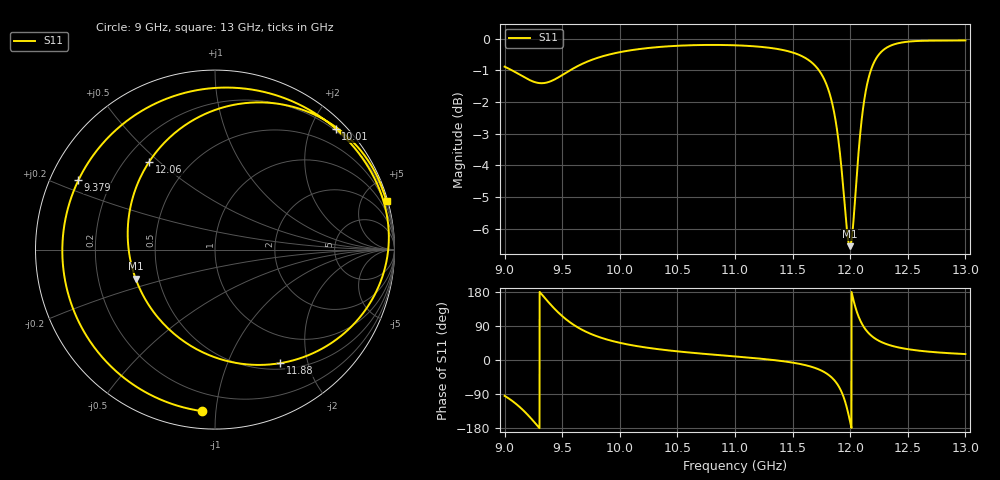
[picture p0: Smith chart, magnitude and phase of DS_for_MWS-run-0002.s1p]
! TOUCHSTONE file generated by CST DESIGN STUDIO
! Date and time: Wed Feb  5 13:35:14 2025
! Project name: C:\Work\MatlabApps\UnitCellOptimizationMatlab\CST\unitcell.cst
! Tree item: Tasks\Sweep1\SPara1\S-Parameters
! Header version: 2024
! Port assignment regex: !\s*Touchstone port\s*([0-9]+)\s*=\s*(CST MWS port|CST DES external port|CST DES block port)\s*(.+)\s* \(\"(.*)\"\)(\s*mode\s*([0-9]+))?.*
! Touchstone port assignment:
! Touchstone port 1 = CST DES external port 1 ("")
# GHz S MA R 50
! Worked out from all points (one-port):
!   4001 points, 9 GHz to 13 GHz, reference 50 ohm
!   lowest |S11| = -6.5 dB at 12 GHz (marker M1), VSWR 2.78, Z = 18.5 - j7.72 ohm
!   |S11| at or under -10 dB: nowhere
!   S11 on the Smith chart (normalised r, x): 9 GHz: 0.09, -0.92; 9.379 GHz: 0.08, +0.24; 10.01 GHz: 0.17, +2.41; 11.88 GHz: 0.58, -1.57; 12.06 GHz: 0.30, +0.46; 13 GHz: 0.19, +7.26
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9  0.903 -94.6
9.091  0.8856 -113.8
9.171  0.8689 -135.5
9.28  0.852 -171.7
9.379  0.8537 153.1
9.5  0.8758 115.9
9.599  0.8976 92.9
9.73  0.9216 71.3
10  0.9516 45.4
10.006  0.9521 45.0
10.5  0.974 22.8
11  0.9757 9.4
11.5  0.9506 -6.9
11.745  0.8821 -27.2
11.82  0.8205 -41.1
11.88  0.7296 -60.1
11.943  0.5725 -97.9
11.997  0.4709 -159.8
12  0.4713 -164.0
12.028  0.5149 158.7
12.058  0.6117 126.8
12.09  0.7174 102.6
12.125  0.8065 84.1
12.176  0.8872 66.1
12.231  0.9337 53.7
12.34  0.9725 39.4
12.5  0.9885 28.6
13  0.993 15.7
